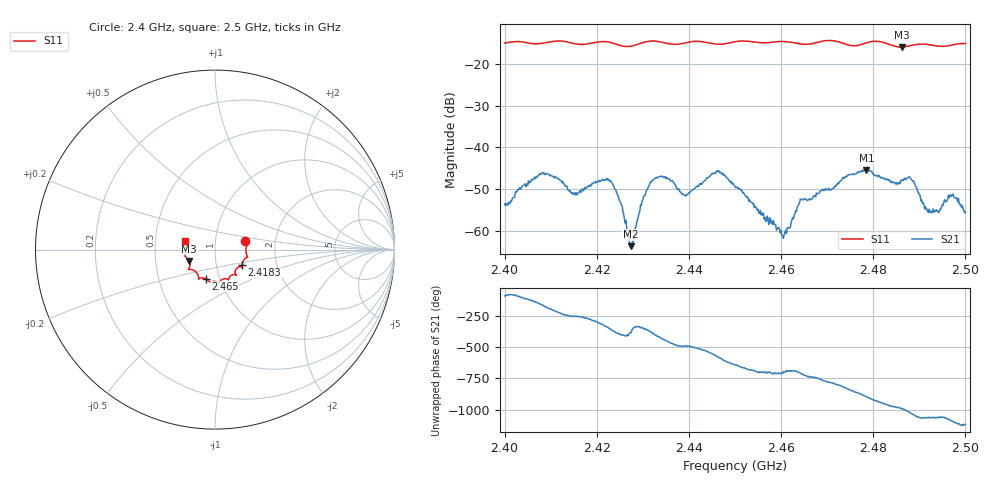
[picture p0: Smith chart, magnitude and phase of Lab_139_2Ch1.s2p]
# Hz S RI R 50
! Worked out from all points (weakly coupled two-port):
!   601 points, 2.4 GHz to 2.5 GHz, reference 50 ohm
!   highest |S21| = -45.44 dB at 2.4785 GHz (marker M1); lowest = -63.6 dB at 2.4273 GHz (marker M2)
!   lowest |S11| = -16.1 dB at 2.4862 GHz (marker M3), VSWR 1.37, Z = 37.1 - j4.83 ohm
!   |S11| at or under -10 dB: start of sweep to end of sweep
!   S12 and S22 are empty: the file has one direction only
!   S11 on the Smith chart (normalised r, x): 2.4 GHz: 1.40, +0.13; 2.4183 GHz: 1.33, -0.24; 2.465 GHz: 0.86, -0.29; 2.5 GHz: 0.71, +0.07
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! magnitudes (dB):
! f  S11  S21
! 2.4 GHz  -15.1  -53.5
! 2.4082 GHz  -15.1  -46.1
! 2.4167 GHz  -15.4  -50.3
! 2.4183 GHz  -15.2  -49.0
! 2.4232 GHz  -15.0  -48.3
! 2.4252 GHz  -15.7  -53.3
! 2.4273 GHz  -15.9  -63.6
! 2.4303 GHz  -14.9  -51.5
! 2.4333 GHz  -14.7  -47.1
! 2.439 GHz  -15.1  -51.4
! 2.446 GHz  -15.4  -45.8
! 2.45 GHz  -14.8  -49.3
! 2.4603 GHz  -14.7  -61.1
! 2.465 GHz  -15.4  -52.2
! 2.4667 GHz  -15.3  -52.4
! 2.4785 GHz  -15.0  -45.4
! 2.4833 GHz  -15.3  -47.9
! 2.4862 GHz  -16.1  -47.9
! 2.4883 GHz  -15.6  -47.7
! 2.4922 GHz  -15.5  -54.7
! 2.4968 GHz  -15.6  -51.7
! 2.5 GHz  -15.2  -55.4
